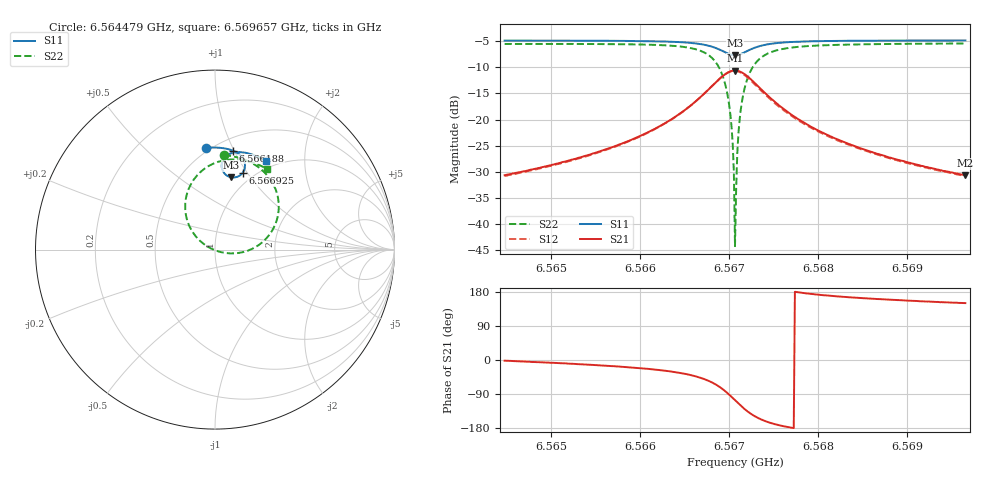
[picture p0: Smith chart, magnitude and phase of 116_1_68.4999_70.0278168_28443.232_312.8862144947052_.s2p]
#  HZ  S  RI  R  50.00
! Rohde & Schwarz Vector Network Analyzer
! Rohde-Schwarz,ZNB20-2Port,1311601062101988,3.16
! Created: UTC 3/20/2024, 4:53:46 PM
! freq[Hz]  re:S11  im:S11  re:S21  im:S21  re:S12  im:S12  re:S22  im:S22
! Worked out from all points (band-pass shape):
!   401 points, 6.564479 GHz to 6.569657 GHz, reference 50 ohm
!   highest |S21| = -10.61 dB at 6.567068 GHz (marker M1); lowest = -30.7 dB at 6.569657 GHz (marker M2)
!   |S21| within 3 dB of the highest: 6.566808 GHz to 6.567326 GHz (518.1 kHz wide, 0.00789 % of centre)
!   lowest |S11| = -7.7 dB at 6.567068 GHz (marker M3), VSWR 2.41, Z = 41.7 + j40.5 ohm
!   |S11| at or under -10 dB: nowhere
!   |S22| runs from -44.2 to -5.4 dB; largest |S21 - S12| = 0.015
!   S11 on the Smith chart (normalised r, x): 6.564479 GHz: 0.47, +0.79; 6.566188 GHz: 0.62, +0.99; 6.566925 GHz: 0.88, +0.95; 6.569657 GHz: 0.89, +1.31
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6.5644786e9  -0.0528 0.5668  0.0294 -0.000952  0.0289 -0.00143  0.0493 0.5261
6.565346e9  0.019 0.5678  0.0432 -0.0086  0.0424 -0.00924  0.134 0.5111
6.5661875e9  0.0996 0.5514  0.0752 -0.0362  0.074 -0.0371  0.2502 0.4529
6.5662134e9  0.1024 0.5503  0.0768 -0.0381  0.0757 -0.039  0.255 0.4492
6.5667053e9  0.1611 0.4975  0.113 -0.1296  0.1103 -0.1322  0.3534 0.2709
6.5668348e9  0.1667 0.4603  0.1017 -0.1947  0.0965 -0.1984  0.3381 0.1467
6.5669254e9  0.1535 0.4272  0.0612 -0.2512  0.0523 -0.2544  0.2639 0.0412
6.5670031e9  0.1229 0.4051  -0.00819 -0.286  -0.0207 -0.2851  0.1352 -0.0182
6.567029e9  0.1092 0.4021  -0.0372 -0.2892  -0.0501 -0.2862  0.0826 -0.0211
6.5670419e9  0.1021 0.4016  -0.0521 -0.2886  -0.0651 -0.2846  0.0559 -0.0185
6.5670549e9  0.0948 0.4021  -0.067 -0.2865  -0.08 -0.2813  0.0293 -0.0132
6.5670678e9  0.0877 0.4033  -0.0818 -0.2832  -0.0946 -0.2767  0.00362 -0.005
6.5670937e9  0.0741 0.408  -0.1099 -0.2717  -0.1216 -0.2631  -0.0444 0.0186
6.5671067e9  0.0679 0.4115  -0.1228 -0.2644  -0.1337 -0.2547  -0.066 0.0338
6.5671196e9  0.0621 0.4155  -0.1348 -0.2556  -0.1447 -0.2453  -0.0857 0.0508
6.5671455e9  0.0522 0.4251  -0.1552 -0.2356  -0.1633 -0.2241  -0.1183 0.0887
6.5671973e9  0.0402 0.4476  -0.1817 -0.1909  -0.1857 -0.1785  -0.1571 0.1709
6.567262e9  0.0378 0.4749  -0.1917 -0.1374  -0.1917 -0.1263  -0.165 0.2655
6.567508e9  0.0761 0.5304  -0.1468 -0.0288  -0.1435 -0.0243  -0.0616 0.4481
6.5679352e9  0.1392 0.5433  -0.084 0.0089  -0.082 0.0102  0.0785 0.5015
6.5688026e9  0.2219 0.5243  -0.0406 0.0154  -0.0398 0.0157  0.2098 0.4848
6.5696571e9  0.2862 0.4942  -0.0254 0.0146  -0.0249 0.0148  0.2875 0.4504
